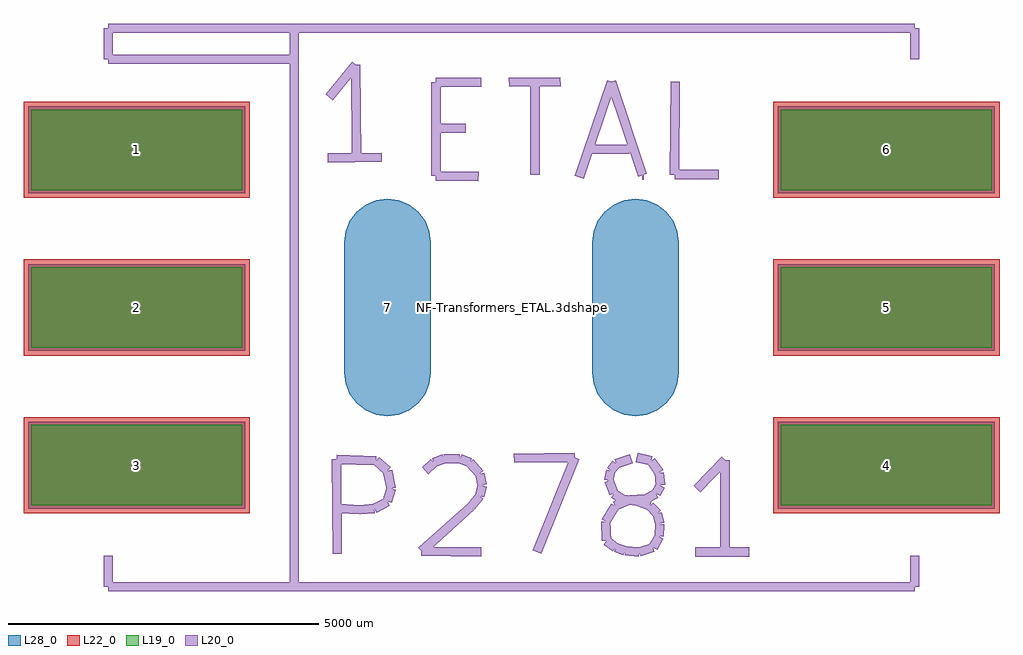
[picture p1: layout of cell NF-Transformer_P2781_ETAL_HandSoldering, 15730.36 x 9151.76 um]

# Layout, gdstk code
import gdstk
lib = gdstk.Library(unit=1e-6, precision=1e-09)
def R(c, l, rs):  # rectangles x0, y0, x1, y1
    for r in rs: c.add(gdstk.rectangle(r[:2], r[2:], *l))
def A(c, l, x, y, w, h, nx, ny, dx, dy):  # array of equal rectangles
    R(c, l, [(x+i*dx, y+j*dy, x+i*dx+w, y+j*dy+h) for i in range(nx) for j in range(ny)])
def P(c, l, *ps):  # polygons
    for p in ps: c.add(gdstk.Polygon(p, *l))
L19_0 = (19, 0)
L20_0 = (20, 0)
L22_0 = (22, 0)
L28_0 = (28, 0)

nf_transformer_p2781_eta = lib.new_cell('NF-Transformer_P2781_ETAL_HandSoldering')
A(nf_transformer_p2781_eta, L19_0, -7740.18, -3189.77, 3400.12, 1299.54, 1, 3, 0, 2540)
A(nf_transformer_p2781_eta, L19_0, 4340.06, -3189.77, 3400.12, 1299.54, 1, 3, 0, 2540)
A(nf_transformer_p2781_eta, L22_0, -7865.18, -3314.77, 3650.12, 1549.54, 1, 3, 0, 2540)
A(nf_transformer_p2781_eta, L22_0, 4215.06, -3314.77, 3650.12, 1549.54, 1, 3, 0, 2540)
A(nf_transformer_p2781_eta, L28_0, -7790.18, -3239.77, 3500.12, 1399.54, 1, 3, 0, 2540)
A(nf_transformer_p2781_eta, L28_0, 4290.06, -3239.77, 3500.12, 1399.54, 1, 3, 0, 2540)
P(nf_transformer_p2781_eta, L28_0, [(1998.98,-1750.06),(2180.094,-1726.216),(2348.865,-1656.309),(2493.792,-1545.102),(2604.999,-1400.175),(2674.906,-1231.404),(2698.75,-1050.29),(2698.75,1050.29),(2674.906,1231.404),(2604.999,1400.175),(2493.792,1545.102),(2348.865,1656.309),(2180.094,1726.216),(1998.98,1750.06),(1817.866,1726.216),(1649.095,1656.309),(1504.168,1545.102),(1392.961,1400.175),(1323.054,1231.404),(1299.21,1050.29),(1299.21,-1050.29),(1323.054,-1231.404),(1392.961,-1400.175),(1504.168,-1545.102),(1649.095,-1656.309),(1817.866,-1726.216)],
  [(-1998.98,-1750.06),(-1817.866,-1726.216),(-1649.095,-1656.309),(-1504.168,-1545.102),(-1392.961,-1400.175),(-1323.054,-1231.404),(-1299.21,-1050.29),(-1299.21,1050.29),(-1323.054,1231.404),(-1392.961,1400.175),(-1504.168,1545.102),(-1649.095,1656.309),(-1817.866,1726.216),(-1998.98,1750.06),(-2180.094,1726.216),(-2348.865,1656.309),(-2493.792,1545.102),(-2604.999,1400.175),(-2674.906,1231.404),(-2698.75,1050.29),(-2698.75,-1050.29),(-2674.906,-1231.404),(-2604.999,-1400.175),(-2493.792,-1545.102),(-2348.865,-1656.309),(-2180.094,-1726.216)])
nf_transformer_p2781_eta.add(gdstk.FlexPath([(-6499.86,4500.88),(6499.86,4500.88)], 149.998, ends="flush", simple_path=True, layer=20, datatype=0))  # L20_0
nf_transformer_p2781_eta.add(gdstk.FlexPath([(6499.86,-4500.88),(-6499.86,-4500.88)], 149.998, ends="flush", simple_path=True, layer=20, datatype=0))  # L20_0
nf_transformer_p2781_eta.add(gdstk.FlexPath([(-6499.86,4500.88),(-6499.86,4000.5)], 149.998, ends="flush", simple_path=True, layer=20, datatype=0))  # L20_0
nf_transformer_p2781_eta.add(gdstk.FlexPath([(-3500.12,4500.88),(-3500.12,-4500.88)], 149.998, ends="flush", simple_path=True, layer=20, datatype=0))  # L20_0
nf_transformer_p2781_eta.add(gdstk.FlexPath([(-6499.86,-4500.88),(-6499.86,-4000.5)], 149.998, ends="flush", simple_path=True, layer=20, datatype=0))  # L20_0
nf_transformer_p2781_eta.add(gdstk.FlexPath([(-6499.86,4000.5),(-3500.12,4000.5)], 149.998, ends="flush", simple_path=True, layer=20, datatype=0))  # L20_0
nf_transformer_p2781_eta.add(gdstk.FlexPath([(-2509.52,3909.06),(-2499.36,2430.78)], 149.998, ends="flush", simple_path=True, layer=20, datatype=0))  # L20_0
nf_transformer_p2781_eta.add(gdstk.FlexPath([(-2938.78,3390.9),(-2509.52,3909.06)], 149.998, ends="flush", simple_path=True, layer=20, datatype=0))  # L20_0
nf_transformer_p2781_eta.add(gdstk.FlexPath([(-2959.1,2410.46),(-2090.42,2420.62)], 149.998, ends="flush", simple_path=True, layer=20, datatype=0))  # L20_0
nf_transformer_p2781_eta.add(gdstk.FlexPath([(-1219.2,2120.9),(-530.86,2110.74)], 149.998, ends="flush", simple_path=True, layer=20, datatype=0))  # L20_0
nf_transformer_p2781_eta.add(gdstk.FlexPath([(-1219.2,3629.66),(-1219.2,2120.9)], 149.998, ends="flush", simple_path=True, layer=20, datatype=0))  # L20_0
nf_transformer_p2781_eta.add(gdstk.FlexPath([(-490.22,3629.66),(-1219.2,3629.66)], 149.998, ends="flush", simple_path=True, layer=20, datatype=0))  # L20_0
nf_transformer_p2781_eta.add(gdstk.FlexPath([(-1191.26,2890.52),(-739.14,2890.52)], 149.998, ends="flush", simple_path=True, layer=20, datatype=0))  # L20_0
nf_transformer_p2781_eta.add(gdstk.FlexPath([(-40.64,3629.66),(789.94,3639.82)], 149.998, ends="flush", simple_path=True, layer=20, datatype=0))  # L20_0
nf_transformer_p2781_eta.add(gdstk.FlexPath([(381,3609.34),(381,2141.22)], 149.998, ends="flush", simple_path=True, layer=20, datatype=0))  # L20_0
nf_transformer_p2781_eta.add(gdstk.FlexPath([(2110.74,2131.06),(2128.52,2131.06)], 149.998, ends="flush", simple_path=True, layer=20, datatype=0))  # L20_0
nf_transformer_p2781_eta.add(gdstk.FlexPath([(1610.36,3639.82),(2110.74,2131.06)], 149.998, ends="flush", simple_path=True, layer=20, datatype=0))  # L20_0
nf_transformer_p2781_eta.add(gdstk.FlexPath([(1089.66,2100.58),(1610.36,3639.82)], 149.998, ends="flush", simple_path=True, layer=20, datatype=0))  # L20_0
nf_transformer_p2781_eta.add(gdstk.FlexPath([(1249.68,2550.16),(1899.92,2550.16)], 149.998, ends="flush", simple_path=True, layer=20, datatype=0))  # L20_0
nf_transformer_p2781_eta.add(gdstk.FlexPath([(2628.9,2141.22),(3340.1,2141.22)], 149.998, ends="flush", simple_path=True, layer=20, datatype=0))  # L20_0
nf_transformer_p2781_eta.add(gdstk.FlexPath([(2639.06,3639.82),(2628.9,2141.22)], 149.998, ends="flush", simple_path=True, layer=20, datatype=0))  # L20_0
nf_transformer_p2781_eta.add(gdstk.FlexPath([(-2440.94,-3258.82),(-2771.14,-3238.5)], 149.998, ends="flush", simple_path=True, layer=20, datatype=0))  # L20_0
nf_transformer_p2781_eta.add(gdstk.FlexPath([(-2209.8,-3238.5),(-2440.94,-3258.82)], 149.998, ends="flush", simple_path=True, layer=20, datatype=0))  # L20_0
nf_transformer_p2781_eta.add(gdstk.FlexPath([(-1998.98,-3129.28),(-2209.8,-3238.5)], 149.998, ends="flush", simple_path=True, layer=20, datatype=0))  # L20_0
nf_transformer_p2781_eta.add(gdstk.FlexPath([(-1940.56,-2918.46),(-1998.98,-3129.28)], 149.998, ends="flush", simple_path=True, layer=20, datatype=0))  # L20_0
nf_transformer_p2781_eta.add(gdstk.FlexPath([(-1998.98,-2628.9),(-1940.56,-2918.46)], 149.998, ends="flush", simple_path=True, layer=20, datatype=0))  # L20_0
nf_transformer_p2781_eta.add(gdstk.FlexPath([(-2179.32,-2468.88),(-1998.98,-2628.9)], 149.998, ends="flush", simple_path=True, layer=20, datatype=0))  # L20_0
nf_transformer_p2781_eta.add(gdstk.FlexPath([(-2819.4,-2448.56),(-2179.32,-2468.88)], 149.998, ends="flush", simple_path=True, layer=20, datatype=0))  # L20_0
nf_transformer_p2781_eta.add(gdstk.FlexPath([(-2809.24,-3967.48),(-2819.4,-2448.56)], 149.998, ends="flush", simple_path=True, layer=20, datatype=0))  # L20_0
nf_transformer_p2781_eta.add(gdstk.FlexPath([(-1450.34,-3929.38),(-490.22,-3939.54)], 149.998, ends="flush", simple_path=True, layer=20, datatype=0))  # L20_0
nf_transformer_p2781_eta.add(gdstk.FlexPath([(-650.24,-3208.02),(-1450.34,-3929.38)], 149.998, ends="flush", simple_path=True, layer=20, datatype=0))  # L20_0
nf_transformer_p2781_eta.add(gdstk.FlexPath([(-510.54,-3037.84),(-650.24,-3208.02)], 149.998, ends="flush", simple_path=True, layer=20, datatype=0))  # L20_0
nf_transformer_p2781_eta.add(gdstk.FlexPath([(-469.9,-2867.66),(-510.54,-3037.84)], 149.998, ends="flush", simple_path=True, layer=20, datatype=0))  # L20_0
nf_transformer_p2781_eta.add(gdstk.FlexPath([(-510.54,-2679.7),(-469.9,-2867.66)], 149.998, ends="flush", simple_path=True, layer=20, datatype=0))  # L20_0
nf_transformer_p2781_eta.add(gdstk.FlexPath([(-670.56,-2499.36),(-510.54,-2679.7)], 149.998, ends="flush", simple_path=True, layer=20, datatype=0))  # L20_0
nf_transformer_p2781_eta.add(gdstk.FlexPath([(-830.58,-2438.4),(-670.56,-2499.36)], 149.998, ends="flush", simple_path=True, layer=20, datatype=0))  # L20_0
nf_transformer_p2781_eta.add(gdstk.FlexPath([(-1089.66,-2438.4),(-830.58,-2438.4)], 149.998, ends="flush", simple_path=True, layer=20, datatype=0))  # L20_0
nf_transformer_p2781_eta.add(gdstk.FlexPath([(-1249.68,-2499.36),(-1089.66,-2438.4)], 149.998, ends="flush", simple_path=True, layer=20, datatype=0))  # L20_0
nf_transformer_p2781_eta.add(gdstk.FlexPath([(-1389.38,-2628.9),(-1249.68,-2499.36)], 149.998, ends="flush", simple_path=True, layer=20, datatype=0))  # L20_0
nf_transformer_p2781_eta.add(gdstk.FlexPath([(1021.08,-2418.08),(408.94,-3939.54)], 149.998, ends="flush", simple_path=True, layer=20, datatype=0))  # L20_0
nf_transformer_p2781_eta.add(gdstk.FlexPath([(40.64,-2428.24),(1021.08,-2418.08)], 149.998, ends="flush", simple_path=True, layer=20, datatype=0))  # L20_0
nf_transformer_p2781_eta.add(gdstk.FlexPath([(1689.1,-2519.68),(1930.4,-2438.4)], 149.998, ends="flush", simple_path=True, layer=20, datatype=0))  # L20_0
nf_transformer_p2781_eta.add(gdstk.FlexPath([(1600.2,-2628.9),(1689.1,-2519.68)], 149.998, ends="flush", simple_path=True, layer=20, datatype=0))  # L20_0
nf_transformer_p2781_eta.add(gdstk.FlexPath([(1569.72,-2788.92),(1600.2,-2628.9)], 149.998, ends="flush", simple_path=True, layer=20, datatype=0))  # L20_0
nf_transformer_p2781_eta.add(gdstk.FlexPath([(1651,-2999.74),(1569.72,-2788.92)], 149.998, ends="flush", simple_path=True, layer=20, datatype=0))  # L20_0
nf_transformer_p2781_eta.add(gdstk.FlexPath([(1790.7,-3088.64),(1651,-2999.74)], 149.998, ends="flush", simple_path=True, layer=20, datatype=0))  # L20_0
nf_transformer_p2781_eta.add(gdstk.FlexPath([(2019.3,-3119.12),(1790.7,-3088.64)], 149.998, ends="flush", simple_path=True, layer=20, datatype=0))  # L20_0
nf_transformer_p2781_eta.add(gdstk.FlexPath([(2230.12,-3197.86),(2019.3,-3119.12)], 149.998, ends="flush", simple_path=True, layer=20, datatype=0))  # L20_0
nf_transformer_p2781_eta.add(gdstk.FlexPath([(2349.5,-3319.78),(2230.12,-3197.86)], 149.998, ends="flush", simple_path=True, layer=20, datatype=0))  # L20_0
nf_transformer_p2781_eta.add(gdstk.FlexPath([(2390.14,-3487.42),(2349.5,-3319.78)], 149.998, ends="flush", simple_path=True, layer=20, datatype=0))  # L20_0
nf_transformer_p2781_eta.add(gdstk.FlexPath([(2379.98,-3688.08),(2390.14,-3487.42)], 149.998, ends="flush", simple_path=True, layer=20, datatype=0))  # L20_0
nf_transformer_p2781_eta.add(gdstk.FlexPath([(2280.92,-3868.42),(2379.98,-3688.08)], 149.998, ends="flush", simple_path=True, layer=20, datatype=0))  # L20_0
nf_transformer_p2781_eta.add(gdstk.FlexPath([(2059.94,-3939.54),(2280.92,-3868.42)], 149.998, ends="flush", simple_path=True, layer=20, datatype=0))  # L20_0
nf_transformer_p2781_eta.add(gdstk.FlexPath([(1828.8,-3919.22),(2059.94,-3939.54)], 149.998, ends="flush", simple_path=True, layer=20, datatype=0))  # L20_0
nf_transformer_p2781_eta.add(gdstk.FlexPath([(1678.94,-3868.42),(1828.8,-3919.22)], 149.998, ends="flush", simple_path=True, layer=20, datatype=0))  # L20_0
nf_transformer_p2781_eta.add(gdstk.FlexPath([(1529.08,-3759.2),(1678.94,-3868.42)], 149.998, ends="flush", simple_path=True, layer=20, datatype=0))  # L20_0
nf_transformer_p2781_eta.add(gdstk.FlexPath([(1518.92,-3449.32),(1529.08,-3759.2)], 149.998, ends="flush", simple_path=True, layer=20, datatype=0))  # L20_0
nf_transformer_p2781_eta.add(gdstk.FlexPath([(1668.78,-3197.86),(1518.92,-3449.32)], 149.998, ends="flush", simple_path=True, layer=20, datatype=0))  # L20_0
nf_transformer_p2781_eta.add(gdstk.FlexPath([(1899.92,-3098.8),(1668.78,-3197.86)], 149.998, ends="flush", simple_path=True, layer=20, datatype=0))  # L20_0
nf_transformer_p2781_eta.add(gdstk.FlexPath([(2159,-3088.64),(1899.92,-3098.8)], 149.998, ends="flush", simple_path=True, layer=20, datatype=0))  # L20_0
nf_transformer_p2781_eta.add(gdstk.FlexPath([(2329.18,-2999.74),(2159,-3088.64)], 149.998, ends="flush", simple_path=True, layer=20, datatype=0))  # L20_0
nf_transformer_p2781_eta.add(gdstk.FlexPath([(2400.3,-2867.66),(2329.18,-2999.74)], 149.998, ends="flush", simple_path=True, layer=20, datatype=0))  # L20_0
nf_transformer_p2781_eta.add(gdstk.FlexPath([(2379.98,-2659.38),(2400.3,-2867.66)], 149.998, ends="flush", simple_path=True, layer=20, datatype=0))  # L20_0
nf_transformer_p2781_eta.add(gdstk.FlexPath([(2250.44,-2468.88),(2379.98,-2659.38)], 149.998, ends="flush", simple_path=True, layer=20, datatype=0))  # L20_0
nf_transformer_p2781_eta.add(gdstk.FlexPath([(2019.3,-2418.08),(2250.44,-2468.88)], 149.998, ends="flush", simple_path=True, layer=20, datatype=0))  # L20_0
nf_transformer_p2781_eta.add(gdstk.FlexPath([(3439.16,-2458.72),(3439.16,-3939.54)], 149.998, ends="flush", simple_path=True, layer=20, datatype=0))  # L20_0
nf_transformer_p2781_eta.add(gdstk.FlexPath([(2989.58,-2928.62),(3439.16,-2458.72)], 149.998, ends="flush", simple_path=True, layer=20, datatype=0))  # L20_0
nf_transformer_p2781_eta.add(gdstk.FlexPath([(2959.1,-3939.54),(3830.32,-3939.54)], 149.998, ends="flush", simple_path=True, layer=20, datatype=0))  # L20_0
nf_transformer_p2781_eta.add(gdstk.FlexPath([(6499.86,4500.88),(6499.86,4000.5)], 149.998, ends="flush", simple_path=True, layer=20, datatype=0))  # L20_0
nf_transformer_p2781_eta.add(gdstk.FlexPath([(6499.86,-4500.88),(6499.86,-4000.5)], 149.998, ends="flush", simple_path=True, layer=20, datatype=0))  # L20_0
nf_transformer_p2781_eta.add(gdstk.Label('NF-Transformers_ETAL.3dshapes/NF-Transformer_P2781_ETAL_HandSoldering.wrl', (0,0), layer=12, texttype=0))
nf_transformer_p2781_eta.add(gdstk.Label('6', (6040.12,2540), layer=28, texttype=0))
nf_transformer_p2781_eta.add(gdstk.Label('5', (6040.12,0), layer=28, texttype=0))
nf_transformer_p2781_eta.add(gdstk.Label('4', (6040.12,-2540), layer=28, texttype=0))
nf_transformer_p2781_eta.add(gdstk.Label('3', (-6040.12,-2540), layer=28, texttype=0))
nf_transformer_p2781_eta.add(gdstk.Label('2', (-6040.12,0), layer=28, texttype=0))
nf_transformer_p2781_eta.add(gdstk.Label('1', (-6040.12,2540), layer=28, texttype=0))
nf_transformer_p2781_eta.add(gdstk.Label('7', (-1998.98,0), layer=28, texttype=0))
nf_transformer_p2781_eta.add(gdstk.Label('type', (0,-7500.62), layer=9, texttype=0))
nf_transformer_p2781_eta.add(gdstk.Label('devicename', (0,7000.24), layer=9, texttype=0))

lib.write_gds('NF-Transformer_P2781_ETAL_HandSoldering.gds')
